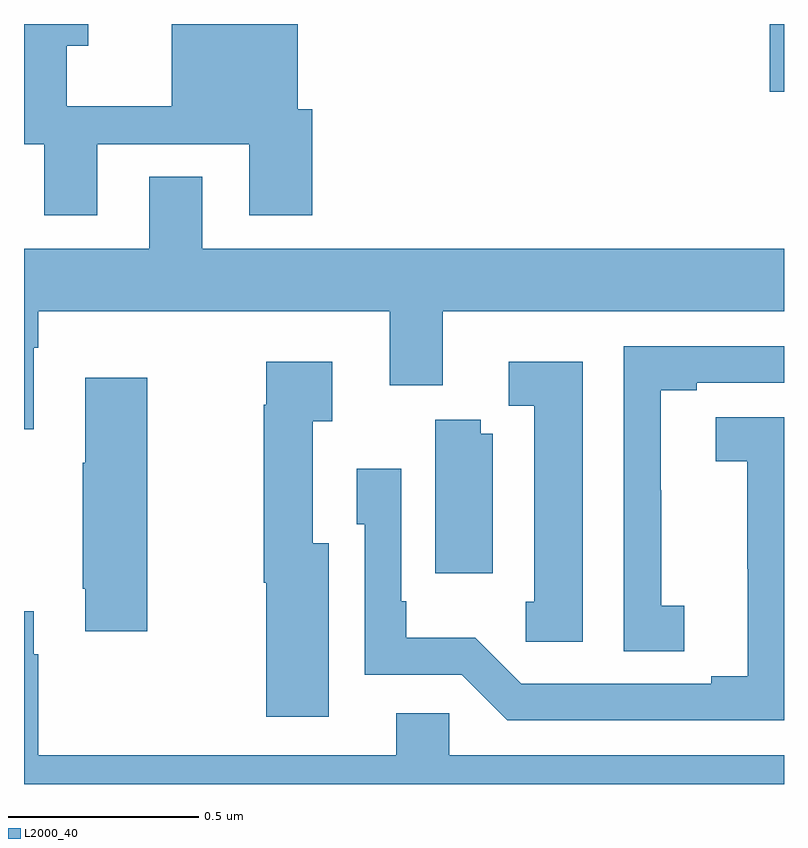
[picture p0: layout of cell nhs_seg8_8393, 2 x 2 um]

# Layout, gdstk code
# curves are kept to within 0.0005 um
import gdstk
lib = gdstk.Library(unit=1e-6, precision=1e-09)
def R(c, l, rs):  # rectangles x0, y0, x1, y1
    for r in rs: c.add(gdstk.rectangle(r[:2], r[2:], *l))
def P(c, l, *ps):  # polygons
    for p in ps: c.add(gdstk.Polygon(p, *l))
L2000_40 = (2000, 40)

nhs_seg8_8393 = lib.new_cell('nhs_seg8_8393')
R(nhs_seg8_8393, L2000_40, [(223.962,1139.722,224,1139.9)])
P(nhs_seg8_8393, L2000_40, [(222.169,1139.843),(222.169,1139.9),(222,1139.9),(222,1139.583),(222.053,1139.583),(222.053,1139.397),(222.193,1139.397),(222.193,1139.583),(222.593,1139.583),(222.593,1139.397),(222.758,1139.397),(222.758,1139.676),(222.721,1139.676),(222.721,1139.9),(222.389,1139.9),(222.389,1139.684),(222.112,1139.684),(222.112,1139.843)],
  [(222.025,1139.048),(222.038,1139.048),(222.038,1139.144),(222.962,1139.144),(222.962,1138.95),(223.102,1138.95),(223.102,1139.144),(224,1139.144),(224,1139.308),(222.469,1139.308),(222.469,1139.498),(222.329,1139.498),(222.329,1139.308),(222,1139.308),(222,1138.833),(222.025,1138.833)],
  [(223.738,1138.369),(223.677,1138.369),(223.677,1138.673),(223.675,1138.673),(223.675,1138.936),(223.771,1138.936),(223.771,1138.956),(224,1138.956),(224,1139.052),(223.578,1139.052),(223.578,1138.249),(223.738,1138.249)],
  [(222.802,1138.534),(222.76,1138.534),(222.76,1138.855),(222.811,1138.855),(222.811,1139.011),(222.638,1139.011),(222.638,1138.898),(222.631,1138.898),(222.631,1138.43),(222.638,1138.43),(222.638,1138.077),(222.802,1138.077)],
  [(223.471,1139.011),(223.275,1139.011),(223.275,1138.896),(223.343,1138.896),(223.343,1138.38),(223.321,1138.38),(223.321,1138.275),(223.471,1138.275)],
  [(222.324,1138.969),(222.161,1138.969),(222.161,1138.745),(222.154,1138.745),(222.154,1138.414),(222.161,1138.414),(222.161,1138.302),(222.324,1138.302)],
  [(224,1138.865),(223.821,1138.865),(223.821,1138.75),(223.903,1138.75),(223.904,1138.184),(223.808,1138.184),(223.808,1138.164),(223.308,1138.164),(223.187,1138.285),(223.006,1138.285),(223.006,1138.381),(222.993,1138.381),(222.993,1138.729),(222.876,1138.729),(222.876,1138.584),(222.897,1138.584),(222.897,1138.188),(223.152,1138.188),(223.272,1138.068),(224,1138.068)],
  [(223.234,1138.822),(223.202,1138.822),(223.202,1138.859),(223.082,1138.859),(223.082,1138.455),(223.234,1138.455)],
  [(224,1137.976),(223.119,1137.976),(223.119,1138.086),(222.98,1138.086),(222.98,1137.976),(222.038,1137.976),(222.038,1138.241),(222.025,1138.241),(222.025,1138.354),(222,1138.354),(222,1137.9),(224,1137.9)])

lib.write_gds('nhs_seg8_8393.gds')
